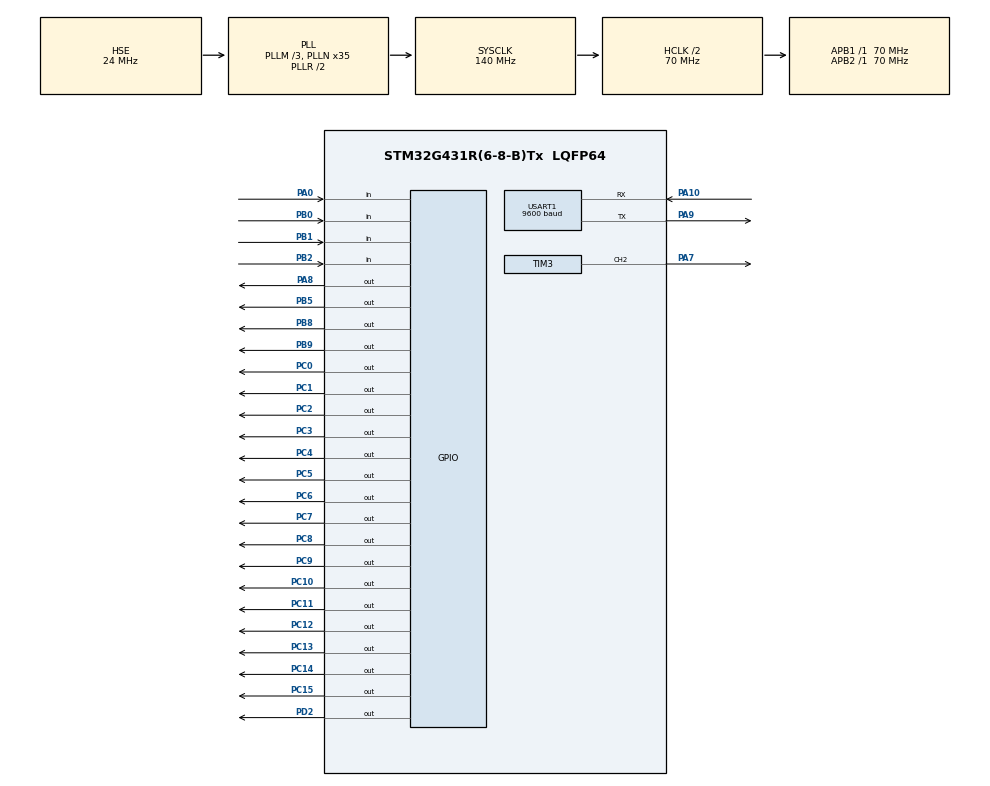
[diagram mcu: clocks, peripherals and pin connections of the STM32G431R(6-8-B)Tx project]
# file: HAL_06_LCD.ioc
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Mcu.Family=STM32G4
Mcu.Name=STM32G431R(6-8-B)Tx
Mcu.Package=LQFP64
NVIC.PriorityGroup=NVIC_PRIORITYGROUP_4
NVIC.USART1_IRQn=true\:0\:0\:false\:false\:true\:true\:true
PA0.Signal=GPIO_Input
PA10.Mode=Asynchronous
PA10.Signal=USART1_RX
PA13.Mode=Serial_Wire
PA13.Signal=SYS_JTMS-SWDIO
PA14.Mode=Serial_Wire
PA14.Signal=SYS_JTCK-SWCLK
PA7.Signal=S_TIM3_CH2
PA8.Signal=GPIO_Output
PA9.Mode=Asynchronous
PA9.Signal=USART1_TX
PB0.Signal=GPIO_Input
PB1.Signal=GPIO_Input
PB2.Signal=GPIO_Input
PB5.Signal=GPIO_Output
PB8-BOOT0.Signal=GPIO_Output
PB9.Signal=GPIO_Output
PC0.Signal=GPIO_Output
PC1.Signal=GPIO_Output
PC10.Signal=GPIO_Output
PC11.Signal=GPIO_Output
PC12.Signal=GPIO_Output
PC13.Signal=GPIO_Output
PC14-OSC32_IN.Signal=GPIO_Output
PC15-OSC32_OUT.Signal=GPIO_Output
PC2.Signal=GPIO_Output
PC3.Signal=GPIO_Output
PC4.Signal=GPIO_Output
PC5.Signal=GPIO_Output
PC6.Signal=GPIO_Output
PC7.Signal=GPIO_Output
PC8.Signal=GPIO_Output
PC9.Signal=GPIO_Output
PD2.Signal=GPIO_Output
PF0-OSC_IN.Mode=HSE-External-Oscillator
PF0-OSC_IN.Signal=RCC_OSC_IN
PF1-OSC_OUT.Mode=HSE-External-Oscillator
PF1-OSC_OUT.Signal=RCC_OSC_OUT
ProjectManager.HeapSize=0x200
ProjectManager.StackSize=0x400
ProjectManager.TargetToolchain=MDK-ARM V5.27
RCC.ADC12Freq_Value=140000000
RCC.AHBCLKDivider=RCC_SYSCLK_DIV2
RCC.AHBFreq_Value=70000000
RCC.APB1Freq_Value=70000000
RCC.APB1TimFreq_Value=70000000
RCC.APB2Freq_Value=70000000
RCC.APB2TimFreq_Value=70000000
RCC.CortexFreq_Value=70000000
RCC.EXTERNAL_CLOCK_VALUE=12288000
RCC.HCLKFreq_Value=70000000
RCC.HSE_VALUE=24000000
RCC.HSI48_VALUE=48000000
RCC.HSI_VALUE=16000000
RCC.LSE_VALUE=32768
RCC.PLLM=RCC_PLLM_DIV3
RCC.PLLN=35
RCC.PLLSourceVirtual=RCC_PLLSOURCE_HSE
RCC.SYSCLKFreq_VALUE=140000000
RCC.SYSCLKSource=RCC_SYSCLKSOURCE_PLLCLK
RCC.USBFreq_Value=140000000
RCC.VCOOutputFreq_Value=280000000
SH.S_TIM3_CH2.0=TIM3_CH2,PWM Generation2 CH2
TIM3.Channel-PWM\ Generation2\ CH2=TIM_CHANNEL_2
TIM3.PeriodNoDither=499
TIM3.Prescaler=79
TIM3.PulseNoDither_2=100
USART1.BaudRate=9600
USART1.VirtualMode-Asynchronous=VM_ASYNC
VP_SYS_VS_DBSignals.Mode=DisableDeadBatterySignals
board=custom

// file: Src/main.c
/* USER CODE BEGIN Header */
/**
  ******************************************************************************
  * @file           : main.c
  * @brief          : Main program body
  ******************************************************************************
  * @attention
  *
  * <h2><center>&copy; Copyright (c) 2021 STMicroelectronics.
  * All rights reserved.</center></h2>
  *
  * This software component is licensed by ST under BSD 3-Clause license,
  * the "License"; You may not use this file except in compliance with the
  * License. You may obtain a copy of the License at:
  *                        opensource.org/licenses/BSD-3-Clause
  *
  ******************************************************************************
  */
/* USER CODE END Header */

#include "main.h"
#include "tim.h"
#include "usart.h"
#include "gpio.h"

/* USER CODE BEGIN Includes */
#include "time.h"
#include "string.h"
/* USER CODE END Includes */

/* USER CODE BEGIN PV */
vu8 ucLed=0;
u8 ucState=0;
u8 ucCNBR,ucVNBR,ucIDLE;

float MyRate[2]={3.5,2.0};
u8 ucA7PWM=0;

struct MyCar
{
	u8 ucCarType;
	u8 pucCarNo[5];
	struct tm tmIn;
};
struct MyCar CarKu[8]={{0,"",},{0,"",},{0,"",},{0,"",},{0,"",},{0,"",},{0,"",},{0,"",}};

u8 pucCmd[23]={0};
u8 pucRpy[23]={0};

vu32 ulTickms=0;

/* USER CODE END PV */

void SystemClock_Config(void);
/* USER CODE BEGIN PFP */

void LCD_Proc(void);
void LED_Proc(void);
void KEY_Proc(void);

u8 LeapYear(u16 InYear);
u8 Mondays(u16 InYear,u8 InMonth);
u8 TimeOK(u8 Inyear,u8 InMonth,u8 InDay,u8 InHour,u8 InMin,u8 InSec);
s16 InCar(u8 ucCarType_L,u8 *pucCarNo_L,struct tm tmInOut);
void CKStatus_Proc();
/* USER CODE END PFP */

int main(void)
{

  /* MCU Configuration--------------------------------------------------------*/

  /* Reset of all peripherals, Initializes the Flash interface and the Systick. */
  HAL_Init();

  /* Configure the system clock */
  SystemClock_Config();

  /* Initialize all configured peripherals */
  MX_GPIO_Init();
  MX_TIM3_Init();
  MX_USART1_UART_Init();
  /* USER CODE BEGIN 2 */

	LCD_Init();
  /* USER CODE END 2 */

  /* Infinite loop */
  /* USER CODE BEGIN WHILE */

	LCD_Clear(Black);
	LCD_SetBackColor(Black);
	LCD_SetTextColor(White);

	HAL_UART_Receive_IT(&huart1,pucCmd,22);
  while (1)
  {
    /* USER CODE END WHILE */

    /* USER CODE BEGIN 3 */
		KEY_Proc();
		CKStatus_Proc();
		LCD_Proc();
		LED_Proc();
  }
  /* USER CODE END 3 */
}

void SystemClock_Config(void)
{
  RCC_OscInitTypeDef RCC_OscInitStruct = {0};
  RCC_ClkInitTypeDef RCC_ClkInitStruct = {0};
  RCC_PeriphCLKInitTypeDef PeriphClkInit = {0};

  /** Configure the main internal regulator output voltage
  */
  HAL_PWREx_ControlVoltageScaling(PWR_REGULATOR_VOLTAGE_SCALE1);
  /** Initializes the CPU, AHB and APB busses clocks
  */
  RCC_OscInitStruct.OscillatorType = RCC_OSCILLATORTYPE_HSE;
  RCC_OscInitStruct.HSEState = RCC_HSE_ON;
  RCC_OscInitStruct.PLL.PLLState = RCC_PLL_ON;
  RCC_OscInitStruct.PLL.PLLSource = RCC_PLLSOURCE_HSE;
  RCC_OscInitStruct.PLL.PLLM = RCC_PLLM_DIV3;
  RCC_OscInitStruct.PLL.PLLN = 35;
  RCC_OscInitStruct.PLL.PLLP = RCC_PLLP_DIV2;
  RCC_OscInitStruct.PLL.PLLQ = RCC_PLLQ_DIV2;
  RCC_OscInitStruct.PLL.PLLR = RCC_PLLR_DIV2;
  if (HAL_RCC_OscConfig(&RCC_OscInitStruct) != HAL_OK)
  {
    Error_Handler();
  }
  /** Initializes the CPU, AHB and APB busses clocks
  */
  RCC_ClkInitStruct.ClockType = RCC_CLOCKTYPE_HCLK|RCC_CLOCKTYPE_SYSCLK
                              |RCC_CLOCKTYPE_PCLK1|RCC_CLOCKTYPE_PCLK2;
  RCC_ClkInitStruct.SYSCLKSource = RCC_SYSCLKSOURCE_PLLCLK;
  RCC_ClkInitStruct.AHBCLKDivider = RCC_SYSCLK_DIV2;
  RCC_ClkInitStruct.APB1CLKDivider = RCC_HCLK_DIV1;
  RCC_ClkInitStruct.APB2CLKDivider = RCC_HCLK_DIV1;

  if (HAL_RCC_ClockConfig(&RCC_ClkInitStruct, FLASH_LATENCY_3) != HAL_OK)
  {
    Error_Handler();
  }
  /** Initializes the peripherals clocks
  */
  PeriphClkInit.PeriphClockSelection = RCC_PERIPHCLK_USART1;
  PeriphClkInit.Usart1ClockSelection = RCC_USART1CLKSOURCE_PCLK2;
  if (HAL_RCCEx_PeriphCLKConfig(&PeriphClkInit) != HAL_OK)
  {
    Error_Handler();
  }
}

/* USER CODE BEGIN 4 */
void LCD_Proc(void)
{
	u8 pucDisp[25]={0};

	if(!ucState)
	{
		//LCD_Clear(Blue);
		LCD_DisplayStringLine(Line1,(unsigned char *)"        Data        ");

		sprintf(pucDisp,"  CNBR:%d",ucCNBR);
		LCD_DisplayStringLine(Line3,(unsigned char *)pucDisp);

		sprintf(pucDisp,"  VNBR:%d",ucVNBR);
		LCD_DisplayStringLine(Line5,(unsigned char *)pucDisp);

		sprintf(pucDisp,"  IDLE:%d",ucIDLE);
		LCD_DisplayStringLine(Line7,(unsigned char *)pucDisp);

	}
	else
	{
		//LCD_Clear(Blue);
		LCD_DisplayStringLine(Line1,(unsigned char *)"       Para        ");

		sprintf(pucDisp,"  CNBR:%-3.2f",MyRate[0]);
		LCD_DisplayStringLine(Line3,(unsigned char *)pucDisp);

		sprintf(pucDisp,"  VNBR:%-3.2f",MyRate[1]);
		LCD_DisplayStringLine(Line5,(unsigned char *)pucDisp);
	}

}
void LED_Proc(void)
{
	if(!ucA7PWM)
		ucLed &=~(1<<1);
	else
		ucLed |=(1<<1);
	if(ucIDLE>0)
		ucLed |=(1<<0);
	else
		ucLed &=~(1<<0);
	LED_Disp(ucLed);
}

void KEY_Proc(void)
{
	u8 ucKey_Val;
	static u8 ucKey_Old=0;
	static u32 ulKey_Time=0;
	ucKey_Val=KEY_Read();
	if(ucKey_Val !=ucKey_Old)
	{
		ucKey_Old=ucKey_Val;
		ulKey_Time=ulTickms;
		switch(ucKey_Val)
		{
			case 1:
				if(!ucState)
				{
					ucState=1;
					LCD_Clear(Black);
				}
				else
				{
					ucState=0;
					LCD_Clear(Black);
				}
				break;
			case 2:
				if(ucState==1)
				{
					MyRate[0] +=0.5;
					MyRate[1] +=0.5;
				}
				break;
			case 3:
				if(ucState==1)
				{
					MyRate[0] -=0.5;
					if(MyRate[0] <=0)
						MyRate[0] =0.5;
					MyRate[1] -=0.5;
					if(MyRate[1] <=0)
						MyRate[1] =0.5;
				}
				break;
			case 4:
				if(!ucA7PWM)
				{
					ucA7PWM=1;
					HAL_TIM_PWM_Start(&htim3,TIM_CHANNEL_2);
				}
				else
				{
					ucA7PWM=0;
					HAL_TIM_PWM_Stop(&htim3,TIM_CHANNEL_2);
				}
				break;
		}
	}
	if(ulTickms-ulKey_Time>=800)
	{
		switch(ucKey_Old)
		{
			case 1:

				break;
			case 2:

				break;
			case 3:

				break;
			case 4:

				break;
		}
	}

}

u8 LeapYear(u16 InYear)
{
	if (InYear % 400==0 || InYear %4==0 && InYear % 100 !=0)
		return 1;
	else
		return 0;
}
u8 Mondays(u16 InYear,u8 InMonth)
{
	u8 days[12]={31,28,31,30,31,30,31,31,30,31,30,31};
	if (LeapYear(InYear))
		days[1]=29;
	return days[InMonth-1];
}
u8 TimeOK(u8 Inyear,u8 InMonth,u8 InDay,u8 InHour,u8 InMin,u8 InSec)
{
	//Inyear should >=1900
	if (InMonth <1 || InMonth >12)
		return 0;
	else if(InDay<1 || InDay > Mondays(2000+Inyear,InMonth))
		return 0;
	else if(InHour>23)
		return 0;
	else if(InHour>59)
		return 0;
	else if(InSec>59)
		return 0;
	else
		return 1;
}
//hour,0,-1
//struct tm tmInOut1,tmInOut2;
//u8 *pucCarNo_L1,*pucCarNo_L2;
//strcpy(pucCarNo_L1,pucCarNo_L2);
//tmInOut1=tmInOut2;
s16 InCar(u8 ucCarType_L,u8 *pucCarNo_L,struct tm tmInOut)
{
	u8 i,ucFlag,idleI,idleFlag;
	time_t tSecs;
	u16 uiHours;
	idleFlag=0;	//wheather find first empty car position or not?
	for(i=0;i<8;i++)
	{
		if(!idleFlag && CarKu[i].ucCarType==0)
		{
			idleFlag=1;
			idleI=i;	//the first empty car position
		}
		if(CarKu[i].ucCarType>0 &&!strcmp(pucCarNo_L,CarKu[i].pucCarNo))
		{
			tSecs=mktime(&tmInOut)-mktime(&CarKu[i].tmIn);
			uiHours=tSecs /3600+1;
			CarKu[i].ucCarType=0;
			//CarKu[i].pucCarNo="";
			strcpy(CarKu[i].pucCarNo,"");
			return uiHours;
		}
	}

	if(idleFlag==1)
	{
		CarKu[idleI].ucCarType=ucCarType_L;
		strcpy(CarKu[idleI].pucCarNo,pucCarNo_L);
		CarKu[idleI].tmIn=tmInOut;
		return 0;
	}
	else
		return -1;
}

void CKStatus_Proc()
{
	u8 i,CNums,VNums,INums;
	CNums=0;
	VNums=0;
	INums=0;
	for(i=0;i<8;i++)
	{
		switch (CarKu[i].ucCarType)
		{
			case 0:
				INums++;
				break;
			case 1:
				CNums++;
				break;
			case 2:
				VNums++;
				break;
		}
	}
	ucCNBR=CNums;
	ucVNBR=VNums;
	ucIDLE=INums;
}
void HAL_UART_RxCpltCallback(UART_HandleTypeDef *huart)
{
	u8 pucType[5],pucCar[5],year,month,day,hour,min,sec;
	u8 ucCarType;
	struct tm tmTime;
	s16 siStopHours;
	float fMoney;

	int result;

			result=sscanf(pucCmd,"%4s:%4s:%2d%2d%2d%2d%2d%2d",pucType,pucCar,&year,&month,&day,&hour,&min,&sec);
			if(result==8)
			{

				if((!strcmp(pucType,"CNBR") || !strcmp(pucType,"VNBR")) && TimeOK(year,month,day ,hour,min,sec)==1)
				{
					if (!strcmp(pucType,"CNBR"))
						ucCarType=1;
					else
						ucCarType=2;
					tmTime.tm_year=2000+year-1900;
					tmTime.tm_mon=month-1;
					tmTime.tm_mday=day;
					tmTime.tm_hour=hour;
					tmTime.tm_min =min;
					tmTime.tm_sec=sec;
					siStopHours=InCar(ucCarType,pucCar,tmTime);
					if (siStopHours>0)
					{
						fMoney=MyRate[ucCarType-1]*siStopHours;

						sprintf(pucRpy,"%s:%s:%d:%-4.2f",pucType,pucCar,siStopHours,fMoney);
						HAL_UART_Transmit_IT(&huart1,pucRpy,strlen(pucRpy));
					}
					else if(siStopHours<0)
						HAL_UART_Transmit_IT(&huart1,"Error2",6);
					else
						HAL_UART_Transmit_IT(&huart1,"In",2);;   //debug remove
				}
				else
					HAL_UART_Transmit_IT(&huart1,"Error1",6);
			}
			else
			{
				HAL_UART_Transmit_IT(&huart1,"Error",5);
			}

	HAL_UART_Receive_IT(&huart1,pucCmd,22);
}
/* USER CODE END 4 */

void Error_Handler(void)
{
}

/************************ (C) COPYRIGHT STMicroelectronics *****END OF FILE****/
